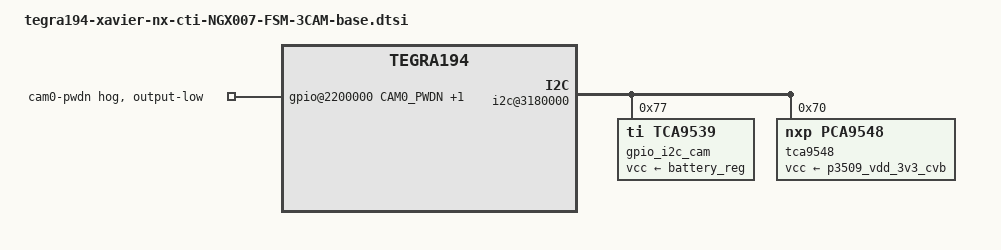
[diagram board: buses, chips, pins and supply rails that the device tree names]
#include <dt-bindings/clock/tegra194-clock.h>

#define CAM0_PWDN TEGRA194_MAIN_GPIO(P, 4)
#define CAM1_PWDN	TEGRA194_MAIN_GPIO(P, 5)
#define CAM_VSYNC   TEGRA194_MAIN_GPIO(Q, 5)

/* PCA9539 Pxx bus-port define*/
#define CAM0_RST_0      0
#define CAM1_RST_0      2
#define CAM2_RST_0      4
#define CAM0_PWDN_1     1
#define CAM1_PWDN_1     3
#define CAM2_PWDN_0     5
#define CAM2_PWDN_1     6
#define CAM3_RST_0      7
#define CAM3_PWDN_0     8
#define CAM3_PWDN_1     9
#define MIPI_SW_SEL     10 // P12

#define CAMERA_I2C_MUX_BUS(x) (0x1E + x)

/ {

	framos_platform_adapter {
        	cam,use-cam-gpio = "true";
   	 };
	
	i2c@3180000 {
		gpio_i2c_cam: gpio@77 {
            compatible = "ti,tca9539";
            reg = <0x77>;
            gpio-controller;
            #gpio-cells = <2>;
            #address-cells = <1>;
            #size-cells = <0>;
            vcc-supply = <&battery_reg>;
			
			camera-rst{
                gpio-hog;
                output-low;
                gpios = <0 0 2 0 4 0 7 0 10 0>;
                label = "cam0_rst", "cam1_rst", "cam2_rst", "cam3_rst", "mipi_sel";
            };
			camera-pwr{
                gpio-hog;
                output-high;
                gpios = <1 0 3 0 5 0 6 0 8 0 9 0>;
                label = "cam0_pw1", "cam1_pw1", "cam2_pw0", "cam2_pw1", "cam3_pw0", "cam3_pw1";
            };
        };
		tca9548@70 {
		    compatible = "nxp,pca9548";
		    reg = <0x70>;
		    #address-cells = <1>;
		    #size-cells = <0>;
		    skip_mux_detect;
            vcc-supply = <&p3509_vdd_3v3_cvb>;
            force_bus_start = <CAMERA_I2C_MUX_BUS(0)>;
            status = "okay";
			i2c@0 {
			    reg = <0>;
			    i2c-mux,deselect-on-exit;
			    #address-cells = <1>;
			    #size-cells = <0>;
                status = "okay";
			};
			i2c@1 {
			    reg = <1>;
			    i2c-mux,deselect-on-exit;
			    #address-cells = <1>;
			    #size-cells = <0>;
                status = "okay";
			};
			i2c@3 {
			    reg = <3>;
			    i2c-mux,deselect-on-exit;
			    #address-cells = <1>;
			    #size-cells = <0>;
                status = "okay";
			};
	    };
	};

	gpio@2200000 {
		camera-control-output-low {
			gpio-hog;
			output-low;
			gpios = < CAM0_PWDN 0 CAM1_PWDN 0 >;
			label = "cam0-pwdn", "cam1-pwdn";
		};
	};
};
